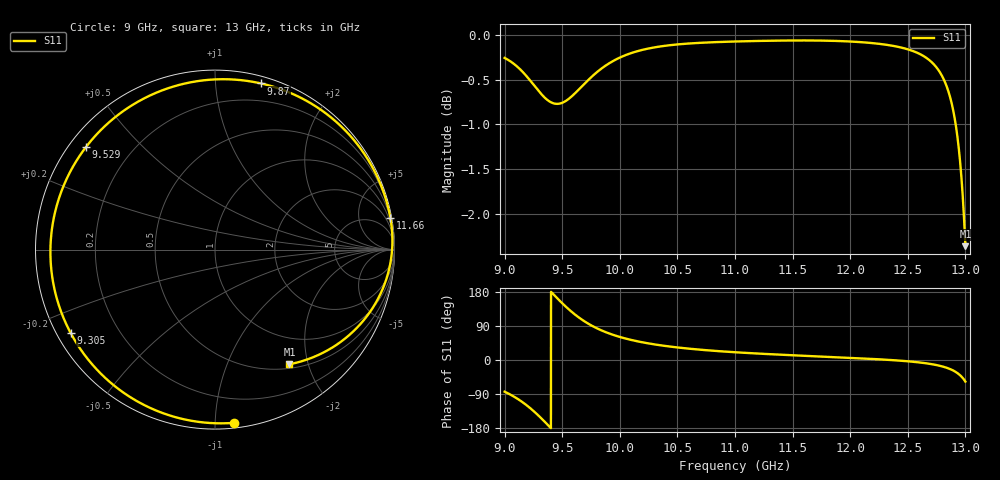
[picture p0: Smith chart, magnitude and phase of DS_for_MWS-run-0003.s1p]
! TOUCHSTONE file generated by CST DESIGN STUDIO
! Date and time: Tue Feb  4 12:50:15 2025
! Project name: C:\Work\MatlabApps\UnitCellOptimizationMatlab\CST\unitcell.cst
! Tree item: Tasks\Sweep1\SPara1\S-Parameters
! Header version: 2024
! Port assignment regex: !\s*Touchstone port\s*([0-9]+)\s*=\s*(CST MWS port|CST DES external port|CST DES block port)\s*(.+)\s* \(\"(.*)\"\)(\s*mode\s*([0-9]+))?.*
! Touchstone port assignment:
! Touchstone port 1 = CST DES external port 1 ("")
# GHz S MA R 50
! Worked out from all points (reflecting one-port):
!   4001 points, 9 GHz to 13 GHz, reference 50 ohm
!   lowest |S11| = -2.4 dB at 13 GHz (marker M1), VSWR 7.39, Z = 28 - j85.1 ohm
!   phase of S11 starts at -84 deg and turns -333 deg over the sweep
!   S11 on the Smith chart (normalised r, x): 9 GHz: 0.03, -1.12; 9.305 GHz: 0.04, -0.27; 9.529 GHz: 0.05, +0.35; 9.87 GHz: 0.05, +1.32; 11.66 GHz: 0, +11; 13 GHz: 0.56, -1.70
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9  0.9709 -83.6
9.091  0.9624 -98.4
9.167  0.9521 -113.9
9.236  0.9407 -130.6
9.305  0.9289 -149.9
9.355  0.9216 -165.1
9.402  0.917 -179.8
9.449  0.9151 165.4
9.5  0.9164 149.8
9.529  0.9184 141.4
9.6  0.9262 122.6
9.676  0.9367 105.5
9.762  0.9484 89.7
9.87  0.9607 74.4
10  0.9714 60.8
10.101  0.9771 52.8
10.216  0.9818 45.6
10.5  0.988 33.1
11  0.9917 20.5
11.5  0.993 12.5
11.663  0.993 10.3
12  0.9917 5.7
12.5  0.9818 -3.4
12.703  0.9662 -10.8
12.848  0.9318 -21.6
12.93  0.8779 -34.4
12.958  0.8439 -41.4
13  0.7617 -57.0
